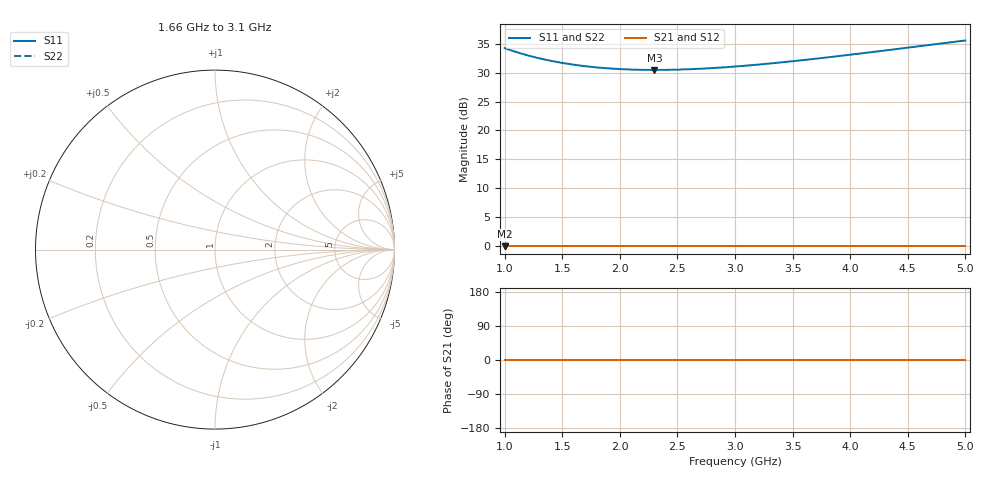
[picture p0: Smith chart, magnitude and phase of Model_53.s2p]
# GHZ S RI R 50
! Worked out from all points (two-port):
!   401 points, 1 GHz to 5 GHz, reference 50 ohm
!   highest |S21| = 0.00 dB at 1 GHz (marker M1); lowest = 0.0 dB at 1 GHz (marker M2)
!   |S21| within 3 dB of the highest: start of sweep to end of sweep
!   lowest |S11| = 30.5 dB at 2.3 GHz (marker M3)
!   |S11| at or under -10 dB: nowhere
!   |S22| runs from 30.5 to 35.6 dB; largest |S21 - S12| = 0
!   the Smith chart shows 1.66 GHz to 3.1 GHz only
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1  51.54 0  1 0  1 0  51.54 0
1.15  46.07 0  1 0  1 0  46.07 0
1.22  44.06 0  1 0  1 0  44.06 0
1.3  42.1 0  1 0  1 0  42.1 0
1.38  40.42 0  1 0  1 0  40.42 0
1.47  38.84 0  1 0  1 0  38.84 0
1.57  37.4 0  1 0  1 0  37.4 0
1.67  36.24 0  1 0  1 0  36.24 0
1.82  34.94 0  1 0  1 0  34.94 0
1.97  34.07 0  1 0  1 0  34.07 0
2.13  33.55 0  1 0  1 0  33.55 0
2.3  33.36 0  1 0  1 0  33.36 0
2.34  33.37 0  1 0  1 0  33.37 0
2.5  33.57 0  1 0  1 0  33.57 0
2.66  34.03 0  1 0  1 0  34.03 0
3  35.71 0  1 0  1 0  35.71 0
3.33  38.15 0  1 0  1 0  38.15 0
3.67  41.4 0  1 0  1 0  41.4 0
4  45.18 0  1 0  1 0  45.18 0
4.34  49.67 0  1 0  1 0  49.67 0
4.63  53.96 0  1 0  1 0  53.96 0
5  60.01 0  1 0  1 0  60.01 0
